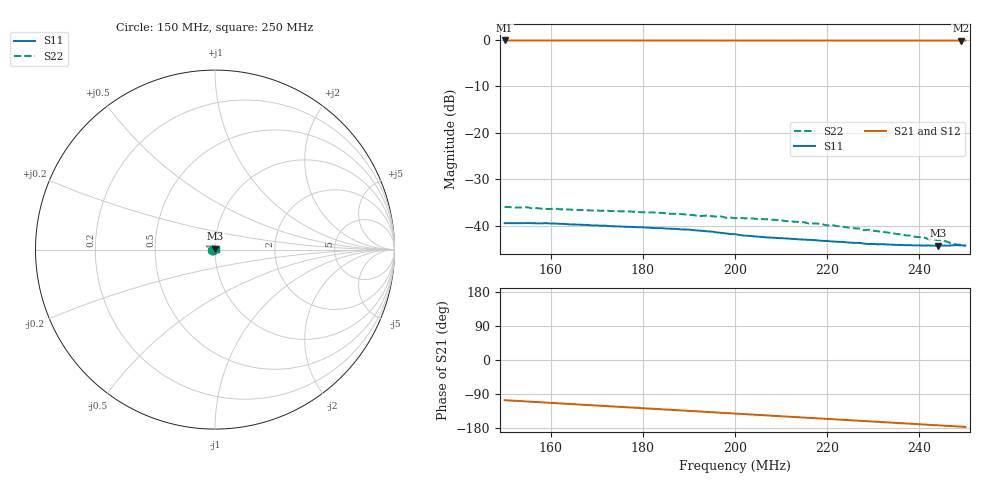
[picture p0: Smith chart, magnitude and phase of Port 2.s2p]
! RsaToolbox (C) 2014 Rohde & Schwarz America
! Number of points: 101
! Number of ports: 2
! Balanced ports?: No
# Hz S RI R 50
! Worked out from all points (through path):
!   101 points, 150 MHz to 250 MHz, reference 50 ohm
!   highest |S21| = -0.08 dB at 150 MHz (marker M1); lowest = -0.1 dB at 249 MHz (marker M2)
!   group delay of S21, straight-line fit = 1.96 ns
!   lowest |S11| = -44.4 dB at 244 MHz (marker M3), VSWR 1.01, Z = 50.2 + j0.554 ohm
!   |S11| at or under -10 dB: start of sweep to end of sweep
!   |S22| runs from -44.5 to -36.0 dB; largest |S21 - S12| = 0
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1.5e8  -0.00976 -0.00407  -0.2737 -0.9518  -0.2737 -0.9518  -0.0158 -0.000947
1.59e8  -0.0103 -0.0025  -0.3773 -0.9153  -0.3773 -0.9153  -0.0151 0.000512
1.67e8  -0.0101 -0.00109  -0.4656 -0.8734  -0.4656 -0.8734  -0.0144 0.00251
1.84e8  -0.00913 0.00214  -0.636 -0.7579  -0.636 -0.7579  -0.0125 0.0055
1.91e8  -0.00826 0.00335  -0.6986 -0.7003  -0.6986 -0.7003  -0.0113 0.00632
1.92e8  -0.00809 0.00351  -0.7072 -0.6916  -0.7072 -0.6916  -0.0107 0.00654
1.97e8  -0.00722 0.00418  -0.7485 -0.6463  -0.7485 -0.6463  -0.0104 0.00703
2e8  -0.00665 0.00458  -0.7721 -0.6178  -0.7721 -0.6178  -0.0097 0.00702
2.01e8  -0.0064 0.00463  -0.7796 -0.608  -0.7796 -0.608  -0.00979 0.00726
2.06e8  -0.0054 0.00522  -0.8156 -0.5585  -0.8156 -0.5585  -0.00891 0.00767
2.17e8  -0.00335 0.00611  -0.8831 -0.4439  -0.8831 -0.4439  -0.00659 0.00821
2.2e8  -0.00274 0.00623  -0.8988 -0.4112  -0.8988 -0.4112  -0.00581 0.00814
2.21e8  -0.00256 0.00623  -0.9037 -0.4001  -0.9037 -0.4001  -0.00577 0.00836
2.27e8  -0.00128 0.00636  -0.9306 -0.3325  -0.9306 -0.3325  -0.00449 0.0081
2.28e8  -0.000965 0.00631  -0.9346 -0.3211  -0.9346 -0.3211  -0.00434 0.00775
2.29e8  -0.000808 0.00626  -0.9385 -0.3095  -0.9385 -0.3095  -0.00425 0.00794
2.34e8  0.0003 0.00621  -0.9556 -0.2512  -0.9556 -0.2512  -0.00335 0.00758
2.44e8  0.00246 0.00551  -0.979 -0.132  -0.979 -0.132  -0.00189 0.00667
2.45e8  0.00265 0.00547  -0.9805 -0.1199  -0.9805 -0.1199  -0.00175 0.0067
2.48e8  0.00333 0.00517  -0.9842 -0.0837  -0.9842 -0.0837  -0.00126 0.00611
2.49e8  0.00347 0.00502  -0.9851 -0.0715  -0.9851 -0.0715  -0.00119 0.00608
2.5e8  0.00367 0.00489  -0.986 -0.0594  -0.986 -0.0594  -0.00108 0.00589
